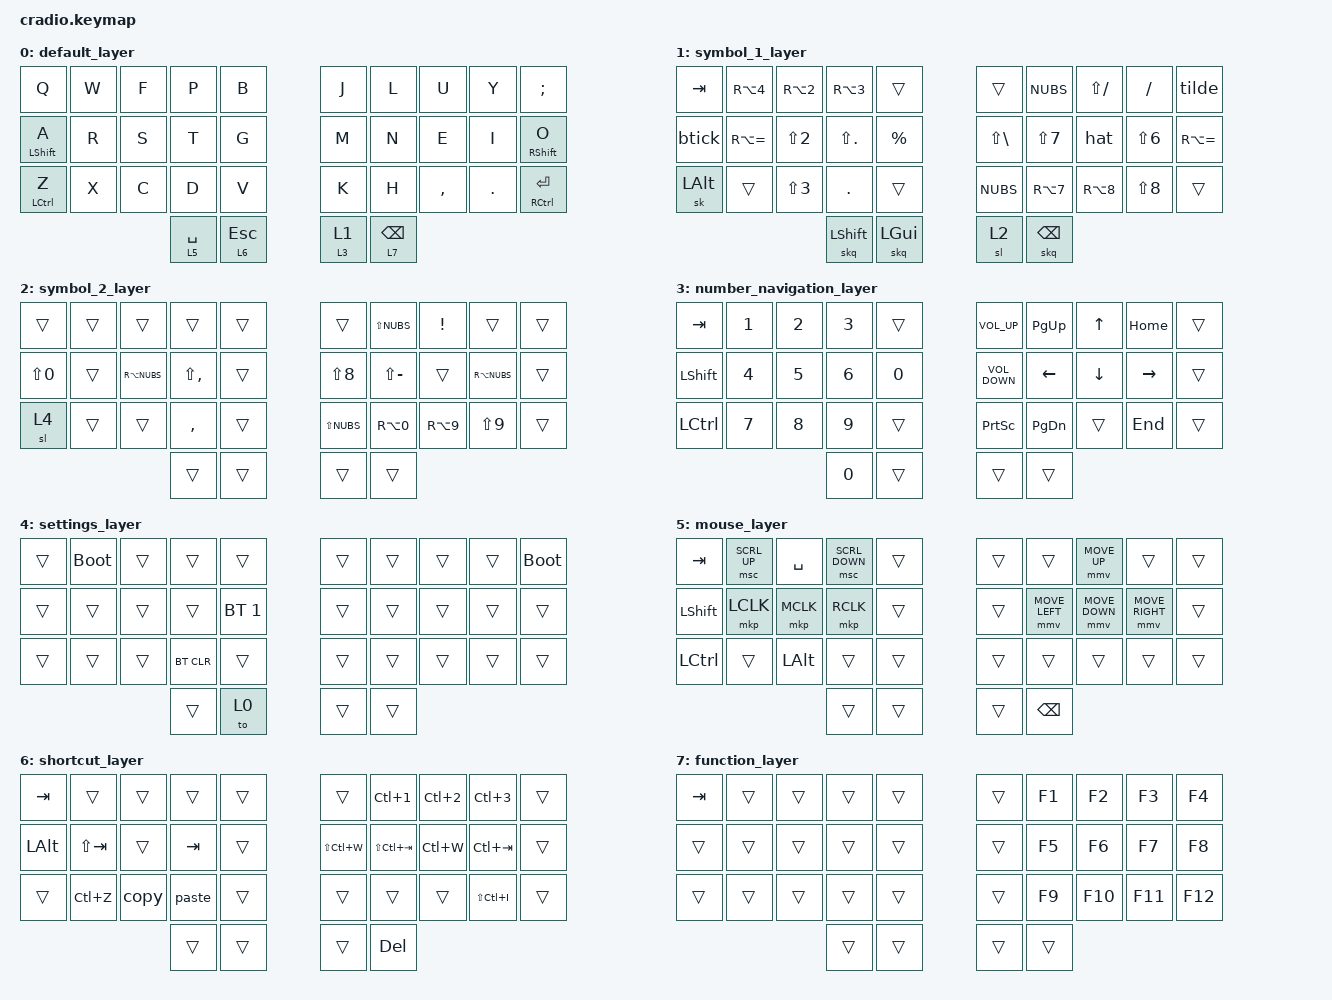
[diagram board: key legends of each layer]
#include <behaviors/mouse_keys.dtsi>
#include <dt-bindings/zmk/mouse.h>
#include <behaviors.dtsi>
#include <dt-bindings/zmk/bt.h>
#include <dt-bindings/zmk/keys.h>
#include <dt-bindings/zmk/pointing.h>

&mt { tapping-term-ms = <400>; };

/ {
    input_configs {
        compatible = "zmk,input-configs";

        mmv {
            device = <&mmv>;
            scale-multiplier = <10>;
        };
    };

    behaviors {
        htl: hold_tap_leader {
            label = "leader_hold_tap";
            compatible = "zmk,behavior-hold-tap";
            #binding-cells = <2>;
            flavor = "tap-preferred";
            tapping-term-ms = <200>;
            bindings = <&mo>, <&sl>;
        };

        skq: sticky_key_quick_release {
            compatible = "zmk,behavior-sticky-key";
            label = "STICKY_KEY_QUICK_RELEASE";
            #binding-cells = <1>;
            bindings = <&kp>;
            release-after-ms = <1000>;
            quick-release;
            ignore-modifiers;
        };

        EAE_behavior: EAE_behavior {
            compatible = "zmk,behavior-tap-dance";
            label = "EAE_BEHAVIOR";
            #binding-cells = <0>;
            tapping-term-ms = <500>;
            bindings = <&kp E>, <&kp SEMICOLON>;
        };

        OOE_behavior: OOE_behavior {
            compatible = "zmk,behavior-tap-dance";
            label = "OOE_BEHAVIOR";
            #binding-cells = <0>;
            bindings = <&kp O>, <&kp SQT>;

            tapping-term-ms = <500>;
        };

        SAA_behavior: SAA_behavior {
            compatible = "zmk,behavior-tap-dance";
            label = "SAA_BEHAVIOR";
            #binding-cells = <0>;
            bindings = <&kp S>, <&kp LEFT_BRACKET>;
        };
    };

    macros {
        tilde: tilde {
            label = "macro_tilde";
            display-name = "~";
            compatible = "zmk,behavior-macro";
            #binding-cells = <0>;
            bindings = <&kp RA(RBKT) &kp RA(RBKT)>;
        };

        btick: btick {
            label = "macro_btick";
            display-name = "`";
            compatible = "zmk,behavior-macro";
            #binding-cells = <0>;
            bindings = <&kp PLUS &kp PLUS>;
        };

        hat: hat {
            label = "macro_hat";
            display-name = "^";
            compatible = "zmk,behavior-macro";
            #binding-cells = <0>;
            bindings = <&kp RBRC &kp RBRC>;
        };

        copy: copy {
            label = "macro_copy";
            compatible = "zmk,behavior-macro";
            #binding-cells = <0>;
            bindings = <&kp LC(C)>;
        };

        paste: paste {
            label = "macro_paste";
            compatible = "zmk,behavior-macro";
            #binding-cells = <0>;
            bindings = <&kp LC(V)>;
        };
    };

    combos {
        compatible = "zmk,combos";

        combo_aa {
            timeout-ms = <30>;
            key-positions = <27 28>;
            layers = <0>;
            bindings = <&kp LBKT>;
        };

        combo_ae {
            timeout-ms = <30>;
            key-positions = <17 18>;
            layers = <0>;
            bindings = <&kp SEMI>;
        };

        combo_ao {
            timeout-ms = <30>;
            key-positions = <7 8>;
            layers = <0>;
            bindings = <&kp SQT>;
        };

        Bootloader-Left {
            bindings = <&bootloader>;
            key-positions = <0 4>;
        };

        Bootloader-Right {
            bindings = <&bootloader>;
            key-positions = <5 9>;
        };

        Studio-Unlock {
            bindings = <&studio_unlock>;
            key-positions = <30 33>;
        };

        combo_b {
            bindings = <&kp B>;
            key-positions = <2 3>;
        };

        combo_g {
            bindings = <&kp G>;
            key-positions = <13 12>;
        };

        combo_v {
            bindings = <&kp V>;
            key-positions = <23 22>;
        };

        combo_j {
            bindings = <&kp J>;
            key-positions = <6 7>;
        };

        combo_m {
            bindings = <&kp M>;
            key-positions = <16 17>;
        };

        combo_k {
            bindings = <&kp K>;
            key-positions = <26 27>;
        };
    };

    keymap {
        compatible = "zmk,keymap";

        default_layer {
            bindings = <
&kp Q             &kp W  &kp F  &kp P        &kp B        &kp J     &kp L            &kp U      &kp Y       &kp SEMICOLON
&mt LEFT_SHIFT A  &kp R  &kp S  &kp T        &kp G        &kp M     &kp N            &kp E      &kp I       &mt RIGHT_SHIFT O
&mt LCTRL Z       &kp X  &kp C  &kp D        &kp V        &kp K     &kp H            &kp COMMA  &kp PERIOD  &mt RCTRL ENTER
                                &lt 5 SPACE  &lt 6 ESC    &htl 3 1  &lt 7 BACKSPACE
            >;
        };

        symbol_1_layer {
            bindings = <
&kp TAB   &kp RA(N4)     &kp RA(N2)  &kp RA(N3)   &trans       &trans        &kp NUBS        &kp LS(FSLH)  &kp FSLH    &tilde
&btick    &kp RA(EQUAL)  &kp LS(N2)  &kp LS(DOT)  &kp PRCNT    &kp LS(BSLH)  &kp LS(N7)      &hat          &kp LS(N6)  &kp RA(EQUAL)
&sk LALT  &trans         &kp LS(N3)  &kp DOT      &trans       &kp NUBS      &kp RA(N7)      &kp RA(N8)    &kp LS(N8)  &trans
                                     &skq LSHIFT  &skq LGUI    &sl 2         &skq BACKSPACE
            >;
        };

        symbol_2_layer {
            bindings = <
&trans      &trans  &trans        &trans         &trans    &trans        &kp LS(NUBS)   &kp EXCL    &trans        &trans
&kp LS(N0)  &trans  &kp RA(NUBS)  &kp LS(COMMA)  &trans    &kp LS(N8)    &kp LS(MINUS)  &trans      &kp RA(NUBS)  &trans
&sl 4       &trans  &trans        &kp COMMA      &trans    &kp LS(NUBS)  &kp RA(N0)     &kp RA(N9)  &kp LS(N9)    &trans
                                  &trans         &trans    &trans        &trans
            >;
        };

        number_navigation_layer {
            bindings = <
&kp TAB         &kp N1  &kp N2  &kp N3        &trans    &kp C_VOLUME_UP    &kp PAGE_UP     &kp UP_ARROW    &kp HOME         &trans
&kp LEFT_SHIFT  &kp N4  &kp N5  &kp N6        &kp N0    &kp C_VOLUME_DOWN  &kp LEFT_ARROW  &kp DOWN_ARROW  &kp RIGHT_ARROW  &trans
&kp LCTRL       &kp N7  &kp N8  &kp N9        &trans    &kp PRINTSCREEN    &kp PAGE_DOWN   &trans          &kp END          &trans
                                &kp NUMBER_0  &trans    &trans             &trans
            >;
        };

        settings_layer {
            bindings = <
&trans  &bootloader  &trans  &trans      &trans          &trans  &trans  &trans  &trans  &bootloader
&trans  &trans       &trans  &trans      &bt BT_SEL 1    &trans  &trans  &trans  &trans  &trans
&trans  &trans       &trans  &bt BT_CLR  &trans          &trans  &trans  &trans  &trans  &trans
                             &trans      &to 0           &trans  &trans
            >;
        };

        mouse_layer {
            bindings = <
&kp TAB     &msc SCRL_UP  &kp SPACE  &msc SCRL_DOWN  &trans    &trans  &trans          &mmv MOVE_UP    &trans           &trans
&kp LSHIFT  &mkp LCLK     &mkp MCLK  &mkp RCLK       &trans    &trans  &mmv MOVE_LEFT  &mmv MOVE_DOWN  &mmv MOVE_RIGHT  &trans
&kp LCTRL   &trans        &kp LALT   &trans          &trans    &trans  &trans          &trans          &trans           &trans
                                     &trans          &trans    &trans  &kp BACKSPACE
            >;
        };

        shortcut_layer {
            bindings = <
&kp TAB       &trans       &trans  &trans   &trans    &trans         &kp LC(N1)       &kp LC(N2)  &kp LC(N3)     &trans
&kp LEFT_ALT  &kp LS(TAB)  &trans  &kp TAB  &trans    &kp LS(LC(W))  &kp LS(LC(TAB))  &kp LC(W)   &kp LC(TAB)    &trans
&trans        &kp LC(Z)    &copy   &paste   &trans    &trans         &trans           &trans      &kp LS(LC(I))  &trans
                                   &trans   &trans    &trans         &kp DEL
            >;
        };

        function_layer {
            bindings = <
&kp TAB  &trans  &trans  &trans  &trans    &trans  &kp F1  &kp F2   &kp F3   &kp F4
&trans   &trans  &trans  &trans  &trans    &trans  &kp F5  &kp F6   &kp F7   &kp F8
&trans   &trans  &trans  &trans  &trans    &trans  &kp F9  &kp F10  &kp F11  &kp F12
                         &trans  &trans    &trans  &trans
            >;
        };
    };
};
